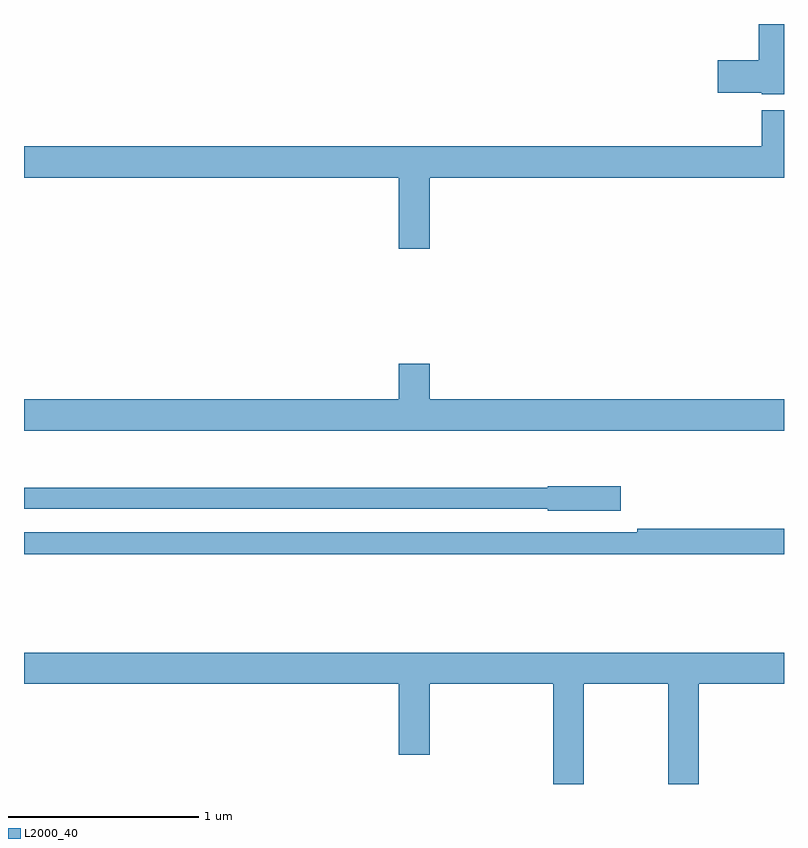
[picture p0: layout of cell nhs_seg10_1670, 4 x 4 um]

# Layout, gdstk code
import gdstk
lib = gdstk.Library(unit=1e-6, precision=1e-09)
def P(c, l, *ps):  # polygons
    for p in ps: c.add(gdstk.Polygon(p, *l))
L2000_40 = (2000, 40)

nhs_seg10_1670 = lib.new_cell('nhs_seg10_1670')
P(nhs_seg10_1670, L2000_40, [(203,1258.5),(202.868,1258.5),(202.868,1258.31),(202.65,1258.31),(202.65,1258.139),(202.884,1258.139),(202.884,1258.13),(203,1258.13)],
  [(201.136,1257.692),(203,1257.692),(203,1258.045),(202.883,1258.045),(202.883,1257.856),(199,1257.856),(199,1257.692),(200.972,1257.692),(200.972,1257.318),(201.136,1257.318)],
  [(203,1256.524),(201.136,1256.524),(201.136,1256.713),(200.972,1256.713),(200.972,1256.524),(199,1256.524),(199,1256.36),(203,1256.36)],
  [(202.141,1256.067),(201.756,1256.067),(201.756,1256.059),(199,1256.059),(199,1255.95),(201.756,1255.95),(201.756,1255.937),(202.141,1255.937)],
  [(203,1255.844),(202.228,1255.844),(202.228,1255.824),(199,1255.824),(199,1255.708),(203,1255.708)],
  [(201.945,1255.028),(202.39,1255.028),(202.39,1254.5),(202.55,1254.5),(202.55,1255.028),(203,1255.028),(203,1255.192),(199,1255.192),(199,1255.028),(200.972,1255.028),(200.972,1254.654),(201.136,1254.654),(201.136,1255.028),(201.785,1255.028),(201.785,1254.5),(201.945,1254.5)])

lib.write_gds('nhs_seg10_1670.gds')
